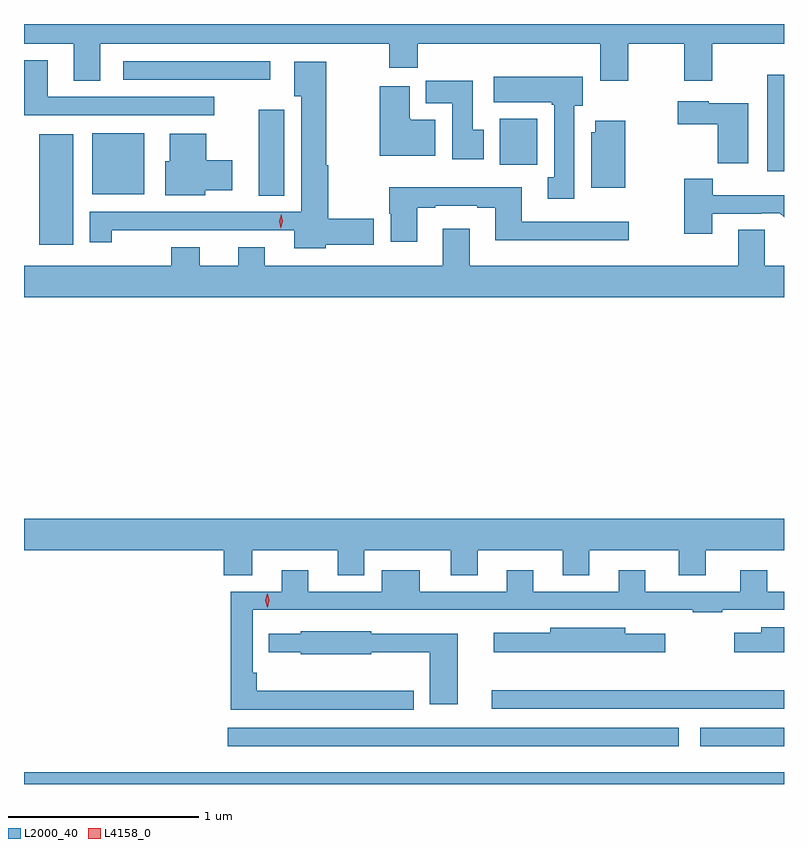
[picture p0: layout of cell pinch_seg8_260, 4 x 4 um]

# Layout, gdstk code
import gdstk
lib = gdstk.Library(unit=1e-6, precision=1e-09)
def R(c, l, rs):  # rectangles x0, y0, x1, y1
    for r in rs: c.add(gdstk.rectangle(r[:2], r[2:], *l))
def P(c, l, *ps):  # polygons
    for p in ps: c.add(gdstk.Polygon(p, *l))
L2000_40 = (2000, 40)
L4158_0 = (4158, 0)

pinch_seg8_260 = lib.new_cell('pinch_seg8_260')
R(pinch_seg8_260, L2000_40, [(490.898,1151.233,494.898,1151.296), (491.97,1151.432,494.344,1151.529), (494.457,1151.432,494.898,1151.529), (493.359,1151.628,494.898,1151.726), (490.979,1154.072,491.158,1154.653), (492.134,1154.329,492.268,1154.782), (491.258,1154.336,491.53,1154.659), (494.81,1154.457,494.898,1154.965), (493.403,1154.492,493.6,1154.734), (491.421,1154.94,492.193,1155.036)])
P(pinch_seg8_260, L2000_40, [(490.898,1155.128),(491.159,1155.128),(491.159,1154.935),(491.299,1154.935),(491.299,1155.128),(492.82,1155.128),(492.82,1155.004),(492.971,1155.004),(492.971,1155.128),(493.931,1155.128),(493.931,1154.934),(494.079,1154.934),(494.079,1155.128),(494.374,1155.128),(494.374,1154.934),(494.521,1154.934),(494.521,1155.128),(494.898,1155.128),(494.898,1155.233),(490.898,1155.233)],
  [(491.899,1154.85),(491.023,1154.85),(491.023,1155.043),(490.898,1155.043),(490.898,1154.754),(491.899,1154.754)],
  [(492.486,1154.072),(492.739,1154.072),(492.739,1154.207),(492.498,1154.207),(492.498,1154.49),(492.49,1154.49),(492.49,1155.034),(492.32,1155.034),(492.32,1154.852),(492.356,1154.852),(492.356,1154.244),(491.243,1154.244),(491.243,1154.085),(491.361,1154.085),(491.361,1154.147),(491.588,1154.147),(491.588,1154.148),(492.32,1154.148),(492.32,1154.054),(492.486,1154.054)],
  [(493.795,1154.802),(493.84,1154.802),(493.84,1154.956),(493.371,1154.956),(493.371,1154.822),(493.675,1154.822),(493.675,1154.809),(493.688,1154.809),(493.688,1154.426),(493.655,1154.426),(493.655,1154.313),(493.795,1154.313)],
  [(493.318,1154.676),(493.261,1154.676),(493.261,1154.934),(493.013,1154.934),(493.013,1154.816),(493.151,1154.816),(493.151,1154.52),(493.318,1154.52)],
  [(493.063,1154.728),(492.934,1154.728),(492.934,1154.734),(492.928,1154.734),(492.928,1154.905),(492.77,1154.905),(492.77,1154.54),(493.063,1154.54)],
  [(494.71,1154.815),(494.502,1154.815),(494.502,1154.827),(494.34,1154.827),(494.34,1154.705),(494.548,1154.705),(494.548,1154.501),(494.71,1154.501)],
  [(494.062,1154.725),(493.904,1154.725),(493.904,1154.664),(493.883,1154.664),(493.883,1154.372),(494.062,1154.372)],
  [(491.853,1154.357),(491.995,1154.357),(491.995,1154.515),(491.857,1154.515),(491.857,1154.656),(491.666,1154.656),(491.666,1154.511),(491.642,1154.511),(491.642,1154.333),(491.853,1154.333)],
  [(494.521,1154.235),(494.777,1154.235),(494.777,1154.238),(494.876,1154.238),(494.898,1154.216),(494.898,1154.332),(494.524,1154.332),(494.524,1154.419),(494.374,1154.419),(494.374,1154.13),(494.521,1154.13)],
  [(492.967,1154.265),(493.063,1154.265),(493.063,1154.277),(493.283,1154.277),(493.283,1154.265),(493.379,1154.265),(493.379,1154.096),(494.08,1154.096),(494.08,1154.193),(493.519,1154.193),(493.519,1154.374),(492.82,1154.374),(492.82,1154.235),(492.827,1154.235),(492.827,1154.088),(492.967,1154.088)],
  [(494.898,1153.96),(494.797,1153.96),(494.797,1154.15),(494.657,1154.15),(494.657,1153.96),(493.243,1153.96),(493.243,1154.155),(493.103,1154.155),(493.103,1153.96),(492.166,1153.96),(492.166,1154.059),(492.026,1154.059),(492.026,1153.96),(491.824,1153.96),(491.824,1154.059),(491.672,1154.059),(491.672,1153.96),(490.898,1153.96),(490.898,1153.796),(494.898,1153.796)],
  [(492.1,1152.464),(492.548,1152.464),(492.548,1152.331),(492.688,1152.331),(492.688,1152.464),(493.145,1152.464),(493.145,1152.331),(493.285,1152.331),(493.285,1152.464),(493.733,1152.464),(493.733,1152.331),(493.873,1152.331),(493.873,1152.464),(494.345,1152.464),(494.345,1152.331),(494.485,1152.331),(494.485,1152.464),(494.898,1152.464),(494.898,1152.628),(490.898,1152.628),(490.898,1152.464),(491.948,1152.464),(491.948,1152.331),(492.1,1152.331)],
  [(492.949,1151.723),(492.122,1151.723),(492.122,1151.818),(492.102,1151.818),(492.102,1152.15),(494.418,1152.15),(494.418,1152.138),(494.573,1152.138),(494.573,1152.15),(494.898,1152.15),(494.898,1152.246),(494.809,1152.246),(494.809,1152.358),(494.669,1152.358),(494.669,1152.246),(494.167,1152.246),(494.167,1152.358),(494.027,1152.358),(494.027,1152.246),(493.579,1152.246),(493.579,1152.358),(493.439,1152.358),(493.439,1152.246),(492.982,1152.246),(492.982,1152.358),(492.782,1152.358),(492.782,1152.246),(492.394,1152.246),(492.394,1152.358),(492.254,1152.358),(492.254,1152.246),(491.986,1152.246),(491.986,1151.625),(492.949,1151.625)],
  [(494.898,1152.058),(494.777,1152.058),(494.777,1152.028),(494.637,1152.028),(494.637,1151.927),(494.898,1151.927)],
  [(494.272,1152.024),(494.062,1152.024),(494.062,1152.055),(493.668,1152.055),(493.668,1152.028),(493.371,1152.028),(493.371,1151.927),(494.272,1151.927)],
  [(493.18,1152.024),(492.726,1152.024),(492.726,1152.037),(492.354,1152.037),(492.354,1152.024),(492.187,1152.024),(492.187,1151.927),(492.354,1151.927),(492.354,1151.915),(492.726,1151.915),(492.726,1151.927),(493.034,1151.927),(493.034,1151.652),(493.18,1151.652)])
P(pinch_seg8_260, L4158_0, [(492.179,1152.163),(492.179,1152.163),(492.169,1152.199),(492.179,1152.234),(492.179,1152.234),(492.18,1152.234),(492.189,1152.199),(492.18,1152.163)],
  [(492.25,1154.159),(492.25,1154.159),(492.241,1154.195),(492.251,1154.231),(492.251,1154.231),(492.251,1154.231),(492.261,1154.195),(492.25,1154.159)])

lib.write_gds('pinch_seg8_260.gds')
